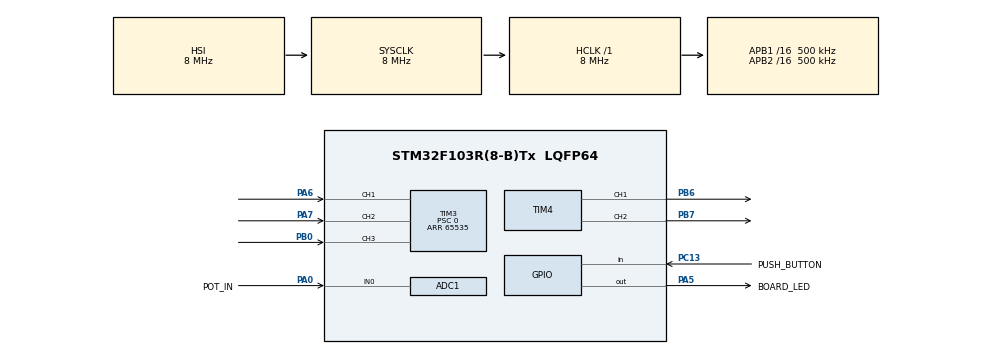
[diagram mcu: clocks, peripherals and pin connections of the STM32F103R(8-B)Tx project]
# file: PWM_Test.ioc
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ADC1.Channel-0\#ChannelRegularConversion=ADC_CHANNEL_0
ADC1.ContinuousConvMode=ENABLE
ADC1.NbrOfConversionFlag=1
ADC1.Rank-0\#ChannelRegularConversion=1
ADC1.SamplingTime-0\#ChannelRegularConversion=ADC_SAMPLETIME_1CYCLE_5
ADC1.master=1
Mcu.Family=STM32F1
Mcu.Name=STM32F103R(8-B)Tx
Mcu.Package=LQFP64
NVIC.PriorityGroup=NVIC_PRIORITYGROUP_4
NVIC.TIM3_IRQn=true\:0\:0\:false\:false\:true\:true
PA0-WKUP.GPIO_Label=POT_IN
PA0-WKUP.Signal=ADCx_IN0
PA5.GPIO_Label=BOARD_LED
PA5.Signal=GPIO_Output
PA6.Signal=S_TIM3_CH1
PA7.Signal=S_TIM3_CH2
PB0.Signal=S_TIM3_CH3
PB6.Signal=S_TIM4_CH1
PB7.Signal=S_TIM4_CH2
PC13-TAMPER-RTC.GPIO_Label=PUSH_BUTTON
PC13-TAMPER-RTC.Signal=GPIO_Input
ProjectManager.HeapSize=0x200
ProjectManager.StackSize=0x400
ProjectManager.TargetToolchain=MDK-ARM V5
RCC.AHBFreq_Value=8000000
RCC.APB1CLKDivider=RCC_HCLK_DIV16
RCC.APB1Freq_Value=500000
RCC.APB1TimFreq_Value=1000000
RCC.APB2CLKDivider=RCC_HCLK_DIV16
RCC.APB2Freq_Value=500000
RCC.APB2TimFreq_Value=1000000
RCC.HCLKFreq_Value=8000000
RCC.PLLMUL=RCC_PLL_MUL16
RCC.SYSCLKFreq_VALUE=8000000
RCC.USBFreq_Value=64000000
SH.ADCx_IN0.0=ADC1_IN0,IN0
SH.S_TIM3_CH1.0=TIM3_CH1,Xored_Inputs_Hall_Sensor_Interface
SH.S_TIM3_CH2.0=TIM3_CH2,Xored_Inputs_Hall_Sensor_Interface
SH.S_TIM3_CH3.0=TIM3_CH3,Xored_Inputs_Hall_Sensor_Interface
SH.S_TIM4_CH1.0=TIM4_CH1,PWM Generation1 CH1
SH.S_TIM4_CH2.0=TIM4_CH2,PWM Generation2 CH2
TIM3.AutoReloadPreload=TIM_AUTORELOAD_PRELOAD_DISABLE
TIM3.Period=65535
TIM3.Prescaler=0
TIM4.Channel-PWM\ Generation1\ CH1=TIM_CHANNEL_1
TIM4.Channel-PWM\ Generation2\ CH2=TIM_CHANNEL_2
VP_SYS_VS_ND.Mode=No_Debug
VP_TIM3_VS_ClockSourceINT.Mode=Internal
VP_TIM4_VS_ClockSourceINT.Mode=Internal
board=custom

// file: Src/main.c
/* USER CODE BEGIN Header */
/**
  ******************************************************************************
  * @file           : main.c
  * @brief          : Main program body
  ******************************************************************************
  ** This notice applies to any and all portions of this file
  * that are not between comment pairs USER CODE BEGIN and
  * USER CODE END. Other portions of this file, whether
  * inserted by the user or by software development tools
  * are owned by their respective copyright owners.
  *
  * COPYRIGHT(c) 2019 STMicroelectronics
  *
  * Redistribution and use in source and binary forms, with or without modification,
  * are permitted provided that the following conditions are met:
  *   1. Redistributions of source code must retain the above copyright notice,
  *      this list of conditions and the following disclaimer.
  *   2. Redistributions in binary form must reproduce the above copyright notice,
  *      this list of conditions and the following disclaimer in the documentation
  *      and/or other materials provided with the distribution.
  *   3. Neither the name of STMicroelectronics nor the names of its contributors
  *      may be used to endorse or promote products derived from this software
  *      without specific prior written permission.
  *
  * THIS SOFTWARE IS PROVIDED BY THE COPYRIGHT HOLDERS AND CONTRIBUTORS "AS IS"
  * AND ANY EXPRESS OR IMPLIED WARRANTIES, INCLUDING, BUT NOT LIMITED TO, THE
  * IMPLIED WARRANTIES OF MERCHANTABILITY AND FITNESS FOR A PARTICULAR PURPOSE ARE
  * DISCLAIMED. IN NO EVENT SHALL THE COPYRIGHT HOLDER OR CONTRIBUTORS BE LIABLE
  * FOR ANY DIRECT, INDIRECT, INCIDENTAL, SPECIAL, EXEMPLARY, OR CONSEQUENTIAL
  * DAMAGES (INCLUDING, BUT NOT LIMITED TO, PROCUREMENT OF SUBSTITUTE GOODS OR
  * SERVICES; LOSS OF USE, DATA, OR PROFITS; OR BUSINESS INTERRUPTION) HOWEVER
  * CAUSED AND ON ANY THEORY OF LIABILITY, WHETHER IN CONTRACT, STRICT LIABILITY,
  * OR TORT (INCLUDING NEGLIGENCE OR OTHERWISE) ARISING IN ANY WAY OUT OF THE USE
  * OF THIS SOFTWARE, EVEN IF ADVISED OF THE POSSIBILITY OF SUCH DAMAGE.
  *
  ******************************************************************************
  */
/* USER CODE END Header */

#include "main.h"

/* USER CODE BEGIN Includes */
#include "Actuator_Lib.h"
/* USER CODE END Includes */

/* USER CODE BEGIN PD */
#define BUTTON_DOWN 0xFE
#define BUTTON_UP 0x01
#define TRUE 1
#define FALSE 0
/* USER CODE END PD */

ADC_HandleTypeDef hadc1;

TIM_HandleTypeDef htim3;
TIM_HandleTypeDef htim4;

/* USER CODE BEGIN PV */

// duty cycle variable in percentage
static float duty_cycle = 0;

// button history bit vector
static uint8_t button_state = 0;

// adc value variable
static uint16_t adc_val = 0;

// hall effect counter variable
static uint8_t xor_cnt = 0;
static float xor_pulse_time = 0;

// calculate rpm
static uint8_t calc_rpm = FALSE;
static float rpm = 0;
static float curr_time = 0;

/* USER CODE END PV */

void SystemClock_Config(void);
static void MX_GPIO_Init(void);
static void MX_ADC1_Init(void);
static void MX_TIM3_Init(void);
static void MX_TIM4_Init(void);

int main(void)
{

  /* MCU Configuration--------------------------------------------------------*/

  /* Reset of all peripherals, Initializes the Flash interface and the Systick. */
  HAL_Init();

  /* Configure the system clock */
  SystemClock_Config();

  /* Initialize all configured peripherals */
  MX_GPIO_Init();
  MX_ADC1_Init();
  MX_TIM3_Init();
  MX_TIM4_Init();

  /* Infinite loop */
  /* USER CODE BEGIN WHILE */

	//========================================================
	//										Initialize Motor
	//========================================================
	rw_init(&htim4, &htim3);
	// set initial speed
	rw_set_speed(duty_cycle);

	//========================================================
	//								ADC Initialization functions
	//========================================================
	HAL_ADC_Start(&hadc1);

	// push button test harness phase 1
	while(1)
	{

		// get current speed
		rw_get_speed(&rpm);

		// debounce code block
		button_state <<= 1; // shift over last state
		// store current button state
		button_state |= HAL_GPIO_ReadPin(GPIOC, PUSH_BUTTON_Pin);

		// if button is pressed
		if (button_state == BUTTON_DOWN)
		{
			// increment speed by 5 percent
			duty_cycle += 5;
			rw_set_speed(duty_cycle);
		}

		// end of duty cycle range
		if (duty_cycle == 100)
		{
			break;
		}
	}

	// store button ADC value
	button_state <<= 1;
	button_state |= HAL_GPIO_ReadPin(GPIOC, PUSH_BUTTON_Pin);

	// busy wait until button is pressed to enter
	// testing phase 2 (continue checking rpm)
	while (!(button_state == BUTTON_DOWN)) {

		// get speed in RPM
		rw_get_speed(&rpm);

		// store button ADC value
		button_state <<= 1;
		button_state |= HAL_GPIO_ReadPin(GPIOC, PUSH_BUTTON_Pin);
	}

  while (1)
  {
		// get raw adc input value
		adc_val = HAL_ADC_GetValue(&hadc1);

		// convert adc value to duty cycle percentage
		duty_cycle = (adc_val * 100.0)/4096;

		// set motor speed based on adc_val
		rw_set_speed(duty_cycle);

		// get current speed
		rw_get_speed(&rpm);

    /* USER CODE END WHILE */

  }
}

void SystemClock_Config(void)
{
  RCC_OscInitTypeDef RCC_OscInitStruct = {0};
  RCC_ClkInitTypeDef RCC_ClkInitStruct = {0};
  RCC_PeriphCLKInitTypeDef PeriphClkInit = {0};

  /**Initializes the CPU, AHB and APB busses clocks
  */
  RCC_OscInitStruct.OscillatorType = RCC_OSCILLATORTYPE_HSI;
  RCC_OscInitStruct.HSIState = RCC_HSI_ON;
  RCC_OscInitStruct.HSICalibrationValue = RCC_HSICALIBRATION_DEFAULT;
  RCC_OscInitStruct.PLL.PLLState = RCC_PLL_NONE;
  if (HAL_RCC_OscConfig(&RCC_OscInitStruct) != HAL_OK)
  {
    Error_Handler();
  }
  /**Initializes the CPU, AHB and APB busses clocks
  */
  RCC_ClkInitStruct.ClockType = RCC_CLOCKTYPE_HCLK|RCC_CLOCKTYPE_SYSCLK
                              |RCC_CLOCKTYPE_PCLK1|RCC_CLOCKTYPE_PCLK2;
  RCC_ClkInitStruct.SYSCLKSource = RCC_SYSCLKSOURCE_HSI;
  RCC_ClkInitStruct.AHBCLKDivider = RCC_SYSCLK_DIV1;
  RCC_ClkInitStruct.APB1CLKDivider = RCC_HCLK_DIV16;
  RCC_ClkInitStruct.APB2CLKDivider = RCC_HCLK_DIV16;

  if (HAL_RCC_ClockConfig(&RCC_ClkInitStruct, FLASH_LATENCY_0) != HAL_OK)
  {
    Error_Handler();
  }
  PeriphClkInit.PeriphClockSelection = RCC_PERIPHCLK_ADC;
  PeriphClkInit.AdcClockSelection = RCC_ADCPCLK2_DIV2;
  if (HAL_RCCEx_PeriphCLKConfig(&PeriphClkInit) != HAL_OK)
  {
    Error_Handler();
  }
}

static void MX_ADC1_Init(void)
{

  ADC_ChannelConfTypeDef sConfig = {0};

  /**Common config
  */
  hadc1.Instance = ADC1;
  hadc1.Init.ScanConvMode = ADC_SCAN_DISABLE;
  hadc1.Init.ContinuousConvMode = ENABLE;
  hadc1.Init.DiscontinuousConvMode = DISABLE;
  hadc1.Init.ExternalTrigConv = ADC_SOFTWARE_START;
  hadc1.Init.DataAlign = ADC_DATAALIGN_RIGHT;
  hadc1.Init.NbrOfConversion = 1;
  if (HAL_ADC_Init(&hadc1) != HAL_OK)
  {
    Error_Handler();
  }
  /**Configure Regular Channel
  */
  sConfig.Channel = ADC_CHANNEL_0;
  sConfig.Rank = ADC_REGULAR_RANK_1;
  sConfig.SamplingTime = ADC_SAMPLETIME_1CYCLE_5;
  if (HAL_ADC_ConfigChannel(&hadc1, &sConfig) != HAL_OK)
  {
    Error_Handler();
  }

}

static void MX_TIM3_Init(void)
{

  TIM_ClockConfigTypeDef sClockSourceConfig = {0};
  TIM_HallSensor_InitTypeDef sConfig = {0};
  TIM_MasterConfigTypeDef sMasterConfig = {0};

  htim3.Instance = TIM3;
  htim3.Init.Prescaler = 0;
  htim3.Init.CounterMode = TIM_COUNTERMODE_UP;
  htim3.Init.Period = 65535;
  htim3.Init.ClockDivision = TIM_CLOCKDIVISION_DIV1;
  htim3.Init.AutoReloadPreload = TIM_AUTORELOAD_PRELOAD_DISABLE;
  if (HAL_TIM_Base_Init(&htim3) != HAL_OK)
  {
    Error_Handler();
  }
  sClockSourceConfig.ClockSource = TIM_CLOCKSOURCE_INTERNAL;
  if (HAL_TIM_ConfigClockSource(&htim3, &sClockSourceConfig) != HAL_OK)
  {
    Error_Handler();
  }
  sConfig.IC1Polarity = TIM_ICPOLARITY_RISING;
  sConfig.IC1Prescaler = TIM_ICPSC_DIV1;
  sConfig.IC1Filter = 0;
  sConfig.Commutation_Delay = 0;
  if (HAL_TIMEx_HallSensor_Init(&htim3, &sConfig) != HAL_OK)
  {
    Error_Handler();
  }
  sMasterConfig.MasterOutputTrigger = TIM_TRGO_OC2REF;
  sMasterConfig.MasterSlaveMode = TIM_MASTERSLAVEMODE_DISABLE;
  if (HAL_TIMEx_MasterConfigSynchronization(&htim3, &sMasterConfig) != HAL_OK)
  {
    Error_Handler();
  }

}

static void MX_TIM4_Init(void)
{

  TIM_ClockConfigTypeDef sClockSourceConfig = {0};
  TIM_MasterConfigTypeDef sMasterConfig = {0};
  TIM_OC_InitTypeDef sConfigOC = {0};

  htim4.Instance = TIM4;
  htim4.Init.Prescaler = 0;
  htim4.Init.CounterMode = TIM_COUNTERMODE_UP;
  htim4.Init.Period = 0;
  htim4.Init.ClockDivision = TIM_CLOCKDIVISION_DIV1;
  htim4.Init.AutoReloadPreload = TIM_AUTORELOAD_PRELOAD_DISABLE;
  if (HAL_TIM_Base_Init(&htim4) != HAL_OK)
  {
    Error_Handler();
  }
  sClockSourceConfig.ClockSource = TIM_CLOCKSOURCE_INTERNAL;
  if (HAL_TIM_ConfigClockSource(&htim4, &sClockSourceConfig) != HAL_OK)
  {
    Error_Handler();
  }
  if (HAL_TIM_PWM_Init(&htim4) != HAL_OK)
  {
    Error_Handler();
  }
  sMasterConfig.MasterOutputTrigger = TIM_TRGO_RESET;
  sMasterConfig.MasterSlaveMode = TIM_MASTERSLAVEMODE_DISABLE;
  if (HAL_TIMEx_MasterConfigSynchronization(&htim4, &sMasterConfig) != HAL_OK)
  {
    Error_Handler();
  }
  sConfigOC.OCMode = TIM_OCMODE_PWM1;
  sConfigOC.Pulse = 0;
  sConfigOC.OCPolarity = TIM_OCPOLARITY_HIGH;
  sConfigOC.OCFastMode = TIM_OCFAST_DISABLE;
  if (HAL_TIM_PWM_ConfigChannel(&htim4, &sConfigOC, TIM_CHANNEL_1) != HAL_OK)
  {
    Error_Handler();
  }
  if (HAL_TIM_PWM_ConfigChannel(&htim4, &sConfigOC, TIM_CHANNEL_2) != HAL_OK)
  {
    Error_Handler();
  }
  HAL_TIM_MspPostInit(&htim4);

}

static void MX_GPIO_Init(void)
{
  GPIO_InitTypeDef GPIO_InitStruct = {0};

  /* GPIO Ports Clock Enable */
  __HAL_RCC_GPIOC_CLK_ENABLE();
  __HAL_RCC_GPIOA_CLK_ENABLE();
  __HAL_RCC_GPIOB_CLK_ENABLE();

  /*Configure GPIO pin Output Level */
  HAL_GPIO_WritePin(BOARD_LED_GPIO_Port, BOARD_LED_Pin, GPIO_PIN_RESET);

  /*Configure GPIO pin : PUSH_BUTTON_Pin */
  GPIO_InitStruct.Pin = PUSH_BUTTON_Pin;
  GPIO_InitStruct.Mode = GPIO_MODE_INPUT;
  GPIO_InitStruct.Pull = GPIO_NOPULL;
  HAL_GPIO_Init(PUSH_BUTTON_GPIO_Port, &GPIO_InitStruct);

  /*Configure GPIO pin : BOARD_LED_Pin */
  GPIO_InitStruct.Pin = BOARD_LED_Pin;
  GPIO_InitStruct.Mode = GPIO_MODE_OUTPUT_PP;
  GPIO_InitStruct.Pull = GPIO_NOPULL;
  GPIO_InitStruct.Speed = GPIO_SPEED_FREQ_LOW;
  HAL_GPIO_Init(BOARD_LED_GPIO_Port, &GPIO_InitStruct);

}

void Error_Handler(void)
{
}

/************************ (C) COPYRIGHT STMicroelectronics *****END OF FILE****/
